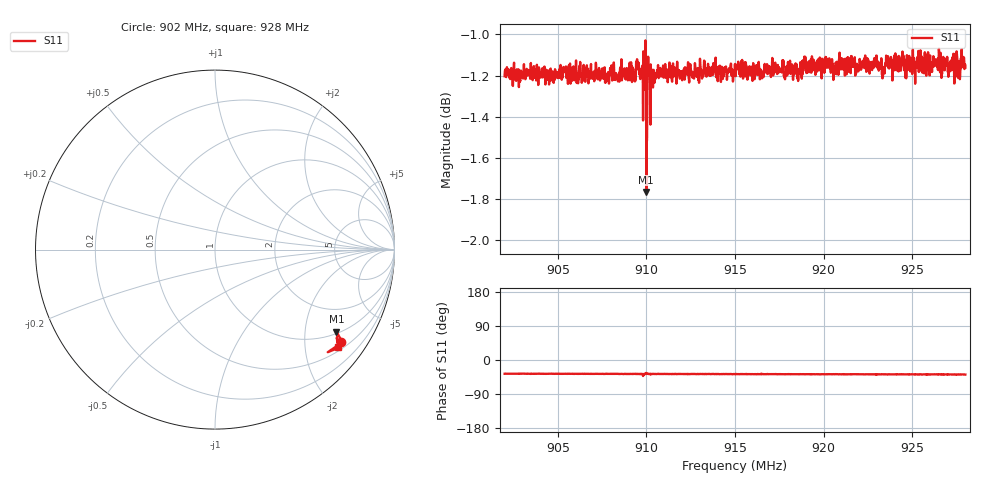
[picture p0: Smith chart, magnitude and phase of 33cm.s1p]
! Calibrated averaged scanner-service zoom
# Hz S RI R 50
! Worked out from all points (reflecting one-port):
!   2001 points, 902 MHz to 928 MHz, reference 50 ohm
!   lowest |S11| = -1.8 dB at 910 MHz (marker M1), VSWR 9.87, Z = 53.2 - j146 ohm
!   phase of S11 starts at -36 deg and turns -2 deg over the sweep
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9.02e8  0.7017 -0.5155
9.0525e8  0.7024 -0.5185
9.085e8  0.6999 -0.5189
9.09514e8  0.7006 -0.5226
9.09644e8  0.6943 -0.5237
9.09748e8  0.6999 -0.5214
9.09852e8  0.702 -0.5292
9.0993e8  0.6928 -0.5163
9.09995e8  0.676 -0.4571
9.10125e8  0.7023 -0.519
9.10151e8  0.6958 -0.5237
9.10216e8  0.684 -0.5237
9.1175e8  0.7003 -0.5258
9.15e8  0.6983 -0.53
9.1825e8  0.6958 -0.529
9.19355e8  0.6937 -0.5354
9.20668e8  0.6976 -0.5313
9.215e8  0.6969 -0.5365
9.21903e8  0.6936 -0.5344
9.22917e8  0.6918 -0.5397
9.23229e8  0.6922 -0.5357
9.23619e8  0.6897 -0.5421
9.2475e8  0.6929 -0.5394
9.2566e8  0.6931 -0.5387
9.26414e8  0.6966 -0.5347
9.267e8  0.6891 -0.5388
9.27857e8  0.6881 -0.5414
9.28e8  0.6855 -0.5436
